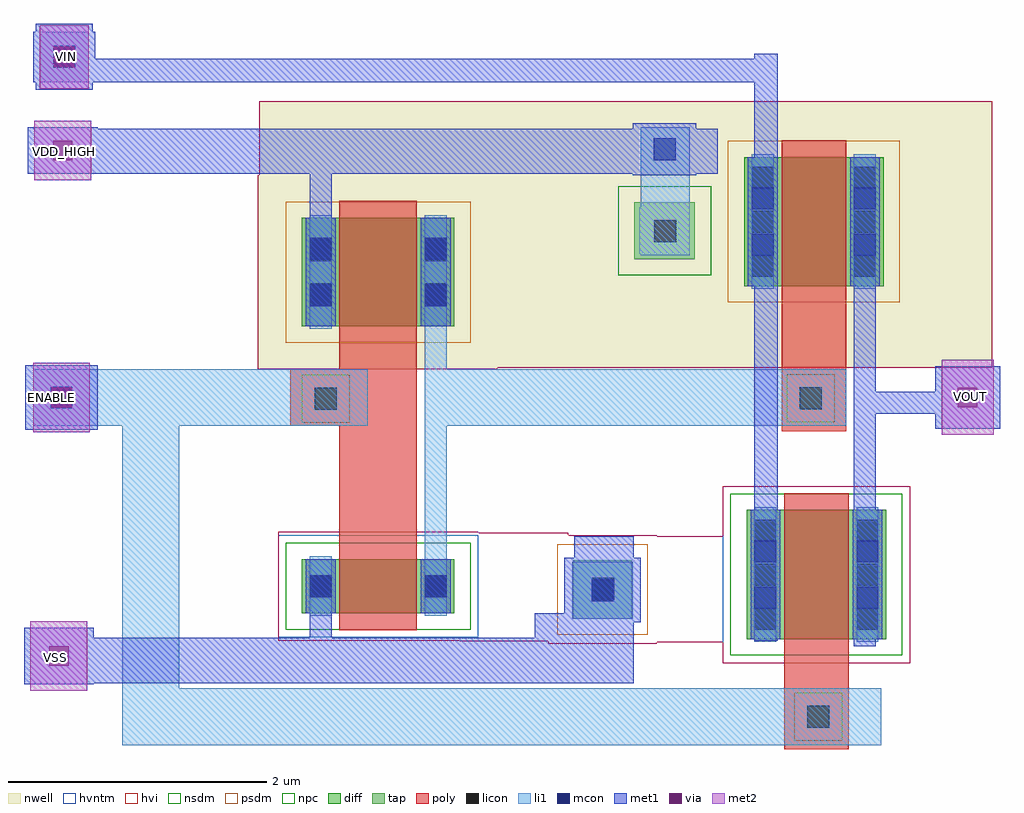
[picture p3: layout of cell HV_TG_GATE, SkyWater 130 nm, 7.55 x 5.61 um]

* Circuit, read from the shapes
.subckt HV_TG_GATE ENABLE VDD_HIGH VIN VOUT VSS
XM1 inverter_D1_g5v10_2/OUT ENABLE VSS VSS sky130_fd_pr__nfet_g5v0d10v5 w=0.42 l=0.6
XM2 VOUT ENABLE VIN VSS sky130_fd_pr__nfet_g5v0d10v5 w=1 l=0.5
XM3 inverter_D1_g5v10_2/OUT ENABLE VDD_HIGH VDD_HIGH sky130_fd_pr__pfet_g5v0d10v5 w=0.84 l=0.6
XM4 VOUT inverter_D1_g5v10_2/OUT VIN VDD_HIGH sky130_fd_pr__pfet_g5v0d10v5 w=1 l=0.5
.ends

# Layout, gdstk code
import gdstk
lib = gdstk.Library(unit=1e-6, precision=1e-09)
def R(c, l, rs):  # rectangles x0, y0, x1, y1
    for r in rs: c.add(gdstk.rectangle(r[:2], r[2:], *l))
def A(c, l, x, y, w, h, nx, ny, dx, dy):  # array of equal rectangles
    R(c, l, [(x+i*dx, y+j*dy, x+i*dx+w, y+j*dy+h) for i in range(nx) for j in range(ny)])
nwell = (64, 20)
diff = (65, 20)
tap = (65, 44)
poly = (66, 20)
licon = (66, 44)
li1 = (67, 20)
mcon = (67, 44)
met1 = (68, 20)
via = (68, 44)
met2 = (69, 20)
hvi = (75, 20)
nsdm = (93, 44)
psdm = (94, 20)
npc = (95, 20)
hvntm = (125, 20)

sky130_fd_pr__pfet_g5v0d = lib.new_cell('sky130_fd_pr__pfet_g5v0d10v5_HKHHPX')
R(sky130_fd_pr__pfet_g5v0d, nwell, [(-0.72,-0.81,0.72,0.81)])
R(sky130_fd_pr__pfet_g5v0d, diff, [(-0.54,-0.5,0.54,0.5)])
R(sky130_fd_pr__pfet_g5v0d, poly, [(-0.25,-0.63,0.25,0.63)])
A(sky130_fd_pr__pfet_g5v0d, licon, -0.48, -0.425, 0.17, 0.17, 1, 3, 0, 0.34)
A(sky130_fd_pr__pfet_g5v0d, licon, 0.31, -0.425, 0.17, 0.17, 1, 3, 0, 0.34)
R(sky130_fd_pr__pfet_g5v0d, li1, [(-0.48,-0.52,-0.31,0.52), (0.31,-0.52,0.48,0.52)])
R(sky130_fd_pr__pfet_g5v0d, mcon, [(-0.48,-0.265,-0.31,-0.095), (0.31,-0.265,0.48,-0.095), (-0.48,0.095,-0.31,0.265), (0.31,0.095,0.48,0.265)])
R(sky130_fd_pr__pfet_g5v0d, met1, [(-0.51,-0.5,-0.28,0.5), (0.28,-0.5,0.51,0.5)])
R(sky130_fd_pr__pfet_g5v0d, hvi, [(-0.72,-0.81,0.72,-0.685), (-0.725,-0.685,0.725,0.685), (-0.72,0.685,0.72,0.81)])
R(sky130_fd_pr__pfet_g5v0d, psdm, [(-0.665,-0.625,0.665,0.625)])

sky130_fd_pr__nfet_g5v0d = lib.new_cell('sky130_fd_pr__nfet_g5v0d10v5_PDTLGW')
R(sky130_fd_pr__nfet_g5v0d, diff, [(-0.54,-0.5,0.54,0.5)])
R(sky130_fd_pr__nfet_g5v0d, poly, [(-0.25,-0.63,0.25,0.63)])
A(sky130_fd_pr__nfet_g5v0d, licon, -0.48, -0.425, 0.17, 0.17, 1, 3, 0, 0.34)
A(sky130_fd_pr__nfet_g5v0d, licon, 0.31, -0.425, 0.17, 0.17, 1, 3, 0, 0.34)
R(sky130_fd_pr__nfet_g5v0d, li1, [(-0.48,-0.52,-0.31,0.52), (0.31,-0.52,0.48,0.52)])
R(sky130_fd_pr__nfet_g5v0d, mcon, [(-0.48,-0.265,-0.31,-0.095), (0.31,-0.265,0.48,-0.095), (-0.48,0.095,-0.31,0.265), (0.31,0.095,0.48,0.265)])
R(sky130_fd_pr__nfet_g5v0d, met1, [(-0.51,-0.5,-0.28,0.5), (0.28,-0.5,0.51,0.5)])
R(sky130_fd_pr__nfet_g5v0d, hvi, [(-0.725,-0.685,0.725,0.685)])
R(sky130_fd_pr__nfet_g5v0d, nsdm, [(-0.665,-0.625,0.665,0.625)])
R(sky130_fd_pr__nfet_g5v0d, hvntm, [(-0.725,-0.685,0.725,0.685)])

c_sky130_fd_pr__pfet_g5v0d = lib.new_cell('sky130_fd_pr__pfet_g5v0d10v5_54DD5S')
R(c_sky130_fd_pr__pfet_g5v0d, nwell, [(-0.77,-0.73,0.77,0.73)])
R(c_sky130_fd_pr__pfet_g5v0d, diff, [(-0.59,-0.42,0.59,0.42)])
R(c_sky130_fd_pr__pfet_g5v0d, poly, [(-0.3,-0.55,0.3,0.55)])
R(c_sky130_fd_pr__pfet_g5v0d, licon, [(-0.53,-0.255,-0.36,-0.085), (0.36,-0.255,0.53,-0.085), (-0.53,0.085,-0.36,0.255), (0.36,0.085,0.53,0.255)])
R(c_sky130_fd_pr__pfet_g5v0d, li1, [(-0.53,-0.44,-0.36,0.44), (0.36,-0.44,0.53,0.44)])
R(c_sky130_fd_pr__pfet_g5v0d, mcon, [(-0.53,-0.265,-0.36,-0.095), (0.36,-0.265,0.53,-0.095), (-0.53,0.095,-0.36,0.265), (0.36,0.095,0.53,0.265)])
R(c_sky130_fd_pr__pfet_g5v0d, met1, [(-0.56,-0.42,-0.33,0.42), (0.33,-0.42,0.56,0.42)])
R(c_sky130_fd_pr__pfet_g5v0d, hvi, [(-0.77,-0.73,0.77,-0.605), (-0.775,-0.605,0.775,0.605), (-0.77,0.605,0.77,0.73)])
R(c_sky130_fd_pr__pfet_g5v0d, psdm, [(-0.715,-0.545,0.715,0.545)])

c_sky130_fd_pr__nfet_g5v0d = lib.new_cell('sky130_fd_pr__nfet_g5v0d10v5_RU632G')
R(c_sky130_fd_pr__nfet_g5v0d, diff, [(-0.59,-0.21,0.59,0.21)])
R(c_sky130_fd_pr__nfet_g5v0d, poly, [(-0.3,-0.34,0.3,0.34)])
R(c_sky130_fd_pr__nfet_g5v0d, licon, [(-0.53,-0.085,-0.36,0.085), (0.36,-0.085,0.53,0.085)])
R(c_sky130_fd_pr__nfet_g5v0d, li1, [(-0.53,-0.23,-0.36,0.23), (0.36,-0.23,0.53,0.23)])
R(c_sky130_fd_pr__nfet_g5v0d, mcon, [(-0.53,-0.085,-0.36,0.085), (0.36,-0.085,0.53,0.085)])
R(c_sky130_fd_pr__nfet_g5v0d, met1, [(-0.56,-0.21,-0.33,0.21), (0.33,-0.21,0.56,0.21)])
R(c_sky130_fd_pr__nfet_g5v0d, hvi, [(-0.775,-0.42,0.775,0.42)])
R(c_sky130_fd_pr__nfet_g5v0d, nsdm, [(-0.715,-0.335,0.715,0.335)])
R(c_sky130_fd_pr__nfet_g5v0d, hvntm, [(-0.775,-0.395,0.775,0.395)])

inverter_d1_g5v10 = lib.new_cell('inverter_D1_g5v10')
R(inverter_d1_g5v10, nwell, [(-0.49,1.54,1.36,3.04)])
R(inverter_d1_g5v10, poly, [(0.14,0.08,0.74,1.1), (-0.24,1.1,0.74,1.54), (0.14,1.54,0.74,1.74)])
R(inverter_d1_g5v10, licon, [(-0.05,1.225,0.12,1.395)])
R(inverter_d1_g5v10, li1, [(0.8,-0.175,0.97,1.1), (-0.49,1.1,0.36,1.54), (0.8,1.1,1.36,1.54), (0.8,1.54,0.97,1.87)])
R(inverter_d1_g5v10, met1, [(-0.5,-0.89,1.34,-0.54), (-0.09,-0.54,0.08,0.07), (-0.09,1.87,0.08,3.05), (-0.49,3.05,1.35,3.4)])
R(inverter_d1_g5v10, hvi, [(-0.49,1.54,1.36,1.56), (-0.49,1.56,-0.33,1.685), (1.21,1.56,1.36,1.685), (-0.49,1.685,-0.335,2.895), (1.215,1.685,1.36,2.895), (-0.49,2.895,-0.33,3.02), (1.21,2.895,1.36,3.02), (-0.49,3.02,1.36,3.04)])
R(inverter_d1_g5v10, npc, [(-0.15,1.125,0.22,1.495)])
inverter_d1_g5v10.add(gdstk.Reference(c_sky130_fd_pr__pfet_g5v0d, (0.44,2.29)))
inverter_d1_g5v10.add(gdstk.Reference(c_sky130_fd_pr__nfet_g5v0d, (0.44,-0.14)))
inverter_d1_g5v10.add(gdstk.Label('VDD', (0.46,3.25), layer=68, texttype=16))
inverter_d1_g5v10.add(gdstk.Label('GND', (0.46,-0.69), layer=68, texttype=16))
inverter_d1_g5v10.add(gdstk.Label('IN', (-0.32,1.33), layer=67, texttype=16))
inverter_d1_g5v10.add(gdstk.Label('OUT', (1.12,1.35), layer=67, texttype=16))

mv_5v_pmostap_substrate = lib.new_cell('MV_5V_pmosTap_substrate')
R(mv_5v_pmostap_substrate, tap, [(-0.35,0,0.12,0.44)])
R(mv_5v_pmostap_substrate, licon, [(-0.195,0.13,-0.025,0.3)])
R(mv_5v_pmostap_substrate, li1, [(-0.31,0.04,0.07,0.4)])
R(mv_5v_pmostap_substrate, hvi, [(-0.535,-0.2,0.305,0.64)])
R(mv_5v_pmostap_substrate, nsdm, [(-0.475,-0.125,0.245,0.565)])

mv_5v_nmostap_substrate_ = lib.new_cell('MV_5V_nmosTap_substrate_Pwell')
R(mv_5v_nmostap_substrate_, tap, [(-0.48,-0.08,-0.03,0.37)])
R(mv_5v_nmostap_substrate_, licon, [(-0.335,0.065,-0.165,0.235)])
R(mv_5v_nmostap_substrate_, li1, [(-0.44,-0.03,-0.06,0.34)])
R(mv_5v_nmostap_substrate_, hvi, [(-0.675,-0.275,0.165,0.565)])
R(mv_5v_nmostap_substrate_, psdm, [(-0.605,-0.205,0.095,0.495)])

hv_tg_gate = lib.new_cell('HV_TG_GATE')
R(hv_tg_gate, nwell, [(-3.57,-0.32,2.1,1.74)])
R(hv_tg_gate, poly, [(0.49,-3.27,0.99,-2.52), (0.47,-0.81,0.97,0.24)])
R(hv_tg_gate, licon, [(0.67,-3.105,0.84,-2.935), (0.61,-0.64,0.78,-0.47)])
R(hv_tg_gate, li1, [(-4.63,-3.24,1.24,-2.8), (-4.63,-2.8,-4.19,-0.77), (-1.15,-2.26,-0.68,-1.82), (-5.32,-0.77,-3.14,-0.33), (-2.17,-0.77,0.97,-0.33), (-0.62,0.55,-0.24,1.54), (-5.27,1.89,-4.89,2.28)])
R(hv_tg_gate, mcon, [(-1,-2.125,-0.83,-1.955), (-5.185,-0.635,-5.015,-0.465), (-0.52,1.285,-0.35,1.455), (-5.165,2,-4.995,2.17)])
R(hv_tg_gate, met1, [(-5.39,-2.77,-4.85,-2.76), (-5.39,-2.76,-3.205,-2.41), (-2.1,-2.76,-0.675,-2.41), (1.03,-2.475,1.2,-0.675), (0.26,-2.43,0.44,1.89), (-5.39,-2.41,-4.85,-2.33), (-1.44,-2.41,-0.675,-2.29), (-1.44,-2.29,-0.62,-2.22), (-1.21,-2.22,-0.62,-1.79), (-1.135,-1.79,-0.675,-1.625), (-5.38,-0.8,-4.82,-0.3), (1.66,-0.79,2.16,-0.675), (1.03,-0.675,2.16,-0.505), (1.03,-0.505,1.2,0.64), (1.66,-0.505,2.16,-0.31), (-0.68,1.17,-0.19,1.18), (-5.36,1.18,-0.025,1.53), (-5.36,1.53,-4.82,1.54), (-0.68,1.53,-0.19,1.57), (-5.3,1.83,-4.86,1.89), (-5.32,1.89,0.44,2.07), (-5.32,2.07,-4.84,2.28), (0.26,2.07,0.44,2.11), (-5.3,2.28,-4.86,2.34)])
R(hv_tg_gate, via, [(-5.195,-2.625,-5.045,-2.475), (-5.175,-0.625,-5.025,-0.475), (1.835,-0.625,1.985,-0.475), (-5.165,1.285,-5.015,1.435), (-5.155,2.01,-5.005,2.16)])
R(hv_tg_gate, met2, [(-5.34,-2.82,-4.9,-2.28), (1.71,-0.84,2.11,-0.26), (-5.32,-0.82,-4.88,-0.28), (-5.31,1.13,-4.87,1.59), (-5.27,1.84,-4.89,2.33)])
R(hv_tg_gate, hvi, [(-0.495,-2.445,0.015,-1.625), (-2.02,-2.435,-1.335,-2.43), (-1.875,-2.43,-1.335,-1.615), (-1.875,-1.615,-1.18,-1.595), (-1.73,-0.32,2.1,0), (-1.73,0,0,0.125), (1.44,0,2.1,0.125), (-1.73,0.125,-0.005,0.32), (1.445,0.125,2.1,1.495), (-1.73,0.32,-0.855,1.16), (-0.015,0.32,-0.005,1.16), (-1.73,1.16,-0.005,1.17), (-3.57,1.17,-0.005,1.495), (-3.57,1.495,0,1.62), (1.44,1.495,2.1,1.62), (-3.57,1.62,2.1,1.74)])
R(hv_tg_gate, npc, [(0.57,-3.205,0.94,-2.835), (0.51,-0.74,0.88,-0.37)])
hv_tg_gate.add(gdstk.Reference(sky130_fd_pr__pfet_g5v0d, (0.72,0.81)))
hv_tg_gate.add(gdstk.Reference(sky130_fd_pr__nfet_g5v0d, (0.74,-1.92)))
hv_tg_gate.add(gdstk.Reference(inverter_d1_g5v10, (-3.09,-1.87)))
hv_tg_gate.add(gdstk.Reference(mv_5v_pmostap_substrate, (-0.32,0.52)))
hv_tg_gate.add(gdstk.Reference(mv_5v_nmostap_substrate_, (-0.66,-2.18)))
hv_tg_gate.add(gdstk.Label('VDD_HIGH', (-5.08,1.35), layer=69, texttype=16))
hv_tg_gate.add(gdstk.Label('VSS', (-5.15,-2.56), layer=69, texttype=16))
hv_tg_gate.add(gdstk.Label('VIN', (-5.06,2.09), layer=69, texttype=16))
hv_tg_gate.add(gdstk.Label('ENABLE', (-5.18,-0.55), layer=69, texttype=16))
hv_tg_gate.add(gdstk.Label('VOUT', (1.93,-0.54), layer=69, texttype=16))

lib.write_gds('HV_TG_GATE.gds')
